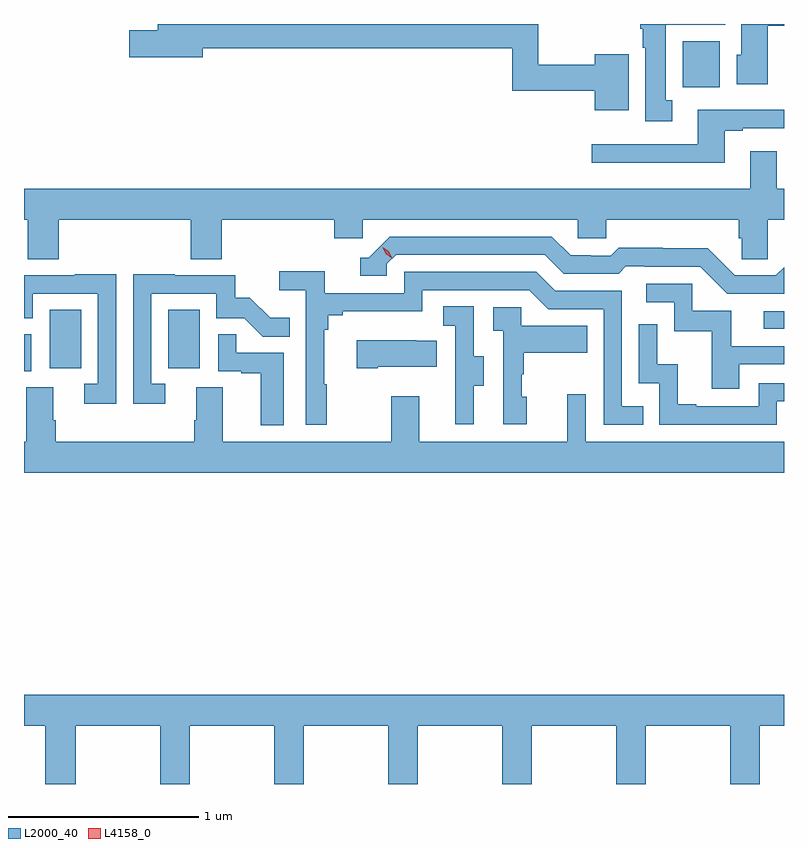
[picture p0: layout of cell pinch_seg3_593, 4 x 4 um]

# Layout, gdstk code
import gdstk
lib = gdstk.Library(unit=1e-6, precision=1e-09)
def R(c, l, rs):  # rectangles x0, y0, x1, y1
    for r in rs: c.add(gdstk.rectangle(r[:2], r[2:], *l))
def P(c, l, *ps):  # polygons
    for p in ps: c.add(gdstk.Polygon(p, *l))
L2000_40 = (2000, 40)
L4158_0 = (4158, 0)

pinch_seg3_593 = lib.new_cell('pinch_seg3_593')
R(pinch_seg3_593, L2000_40, [(1077.202,697.455,1077.24,697.649), (1077.338,697.47,1077.502,697.777), (1077.962,697.47,1078.126,697.777), (1081.095,697.677,1081.202,697.77), (1080.668,698.948,1080.865,699.19)])
P(pinch_seg3_593, L2000_40, [(1081.117,699.272),(1081.202,699.272),(1081.202,699.282),(1080.977,699.282),(1080.977,699.12),(1080.953,699.12),(1080.953,698.966),(1081.117,698.966)],
  [(1080.613,698.882),(1080.58,698.882),(1080.58,699.278),(1080.892,699.278),(1080.892,699.282),(1080.446,699.282),(1080.446,699.258),(1080.458,699.258),(1080.458,699.158),(1080.473,699.158),(1080.473,698.769),(1080.613,698.769)],
  [(1080.385,699.124),(1080.206,699.124),(1080.206,699.068),(1079.909,699.068),(1079.909,699.282),(1077.905,699.282),(1077.905,699.249),(1077.756,699.249),(1077.756,699.107),(1078.144,699.107),(1078.144,699.154),(1079.773,699.154),(1079.773,698.932),(1080.206,698.932),(1080.206,698.828),(1080.385,698.828)],
  [(1080.889,698.721),(1080.985,698.721),(1080.985,698.733),(1081.202,698.733),(1081.202,698.83),(1080.749,698.83),(1080.749,698.649),(1080.189,698.649),(1080.189,698.552),(1080.889,698.552)],
  [(1077.386,698.252),(1078.079,698.252),(1078.079,698.044),(1078.244,698.044),(1078.244,698.252),(1078.835,698.252),(1078.835,698.154),(1078.986,698.154),(1078.986,698.252),(1080.117,698.252),(1080.117,698.154),(1080.267,698.154),(1080.267,698.252),(1080.965,698.252),(1080.965,698.154),(1080.979,698.154),(1080.979,698.044),(1081.116,698.044),(1081.116,698.252),(1081.202,698.252),(1081.202,698.416),(1081.165,698.416),(1081.165,698.611),(1081.025,698.611),(1081.025,698.416),(1077.202,698.416),(1077.202,698.252),(1077.221,698.252),(1077.221,698.044),(1077.386,698.044)],
  [(1081.202,698.003),(1081.158,697.959),(1080.942,697.959),(1080.8,698.101),(1080.564,698.101),(1080.564,698.104),(1080.331,698.104),(1080.289,698.061),(1080.186,698.061),(1080.186,698.064),(1080.079,698.064),(1079.98,698.163),(1079.127,698.163),(1079.016,698.052),(1078.973,698.052),(1078.973,697.956),(1079.112,697.956),(1079.112,698.019),(1079.16,698.067),(1079.943,698.067),(1080.042,697.968),(1080.331,697.968),(1080.37,698.007),(1080.469,698.007),(1080.469,698.004),(1080.762,698.004),(1080.903,697.863),(1081.202,697.863)],
  [(1078.795,697.385),(1078.783,697.385),(1078.783,697.673),(1078.802,697.673),(1078.802,697.75),(1078.879,697.75),(1078.879,697.769),(1079.298,697.769),(1079.298,697.881),(1079.862,697.881),(1079.961,697.782),(1080.252,697.782),(1080.252,697.173),(1080.461,697.173),(1080.461,697.269),(1080.348,697.269),(1080.348,697.878),(1079.998,697.878),(1079.899,697.977),(1079.202,697.977),(1079.202,697.866),(1078.784,697.866),(1078.784,697.982),(1078.545,697.982),(1078.545,697.88),(1078.686,697.88),(1078.686,697.173),(1078.795,697.173)],
  [(1077.687,697.964),(1077.469,697.964),(1077.469,697.959),(1077.202,697.959),(1077.202,697.734),(1077.249,697.734),(1077.249,697.863),(1077.591,697.863),(1077.591,697.389),(1077.519,697.389),(1077.519,697.284),(1077.687,697.284)],
  [(1077.946,697.389),(1077.873,697.389),(1077.873,697.863),(1078.215,697.863),(1078.215,697.734),(1078.36,697.734),(1078.458,697.636),(1078.601,697.636),(1078.601,697.735),(1078.497,697.735),(1078.39,697.842),(1078.314,697.842),(1078.314,697.959),(1077.995,697.959),(1077.995,697.964),(1077.777,697.964),(1077.777,697.284),(1077.946,697.284)],
  [(1080.967,697.491),(1081.202,697.491),(1081.202,697.587),(1080.925,697.587),(1080.925,697.773),(1080.72,697.773),(1080.72,697.914),(1080.477,697.914),(1080.477,697.818),(1080.624,697.818),(1080.624,697.665),(1080.823,697.665),(1080.823,697.362),(1080.967,697.362)],
  [(1079.569,697.378),(1079.623,697.378),(1079.623,697.533),(1079.568,697.533),(1079.568,697.796),(1079.409,697.796),(1079.409,697.693),(1079.472,697.693),(1079.472,697.389),(1079.471,697.389),(1079.471,697.176),(1079.569,697.176)],
  [(1079.848,697.32),(1079.823,697.32),(1079.823,697.439),(1079.833,697.439),(1079.833,697.553),(1080.167,697.553),(1080.167,697.693),(1079.82,697.693),(1079.82,697.791),(1079.673,697.791),(1079.673,697.667),(1079.724,697.667),(1079.724,697.176),(1079.848,697.176)],
  [(1081.164,697.296),(1081.202,697.296),(1081.202,697.392),(1081.068,697.392),(1081.068,697.269),(1080.739,697.269),(1080.739,697.282),(1080.644,697.282),(1080.644,697.49),(1080.534,697.49),(1080.534,697.702),(1080.438,697.702),(1080.438,697.392),(1080.546,697.392),(1080.546,697.173),(1081.164,697.173)],
  [(1078.57,697.551),(1078.319,697.551),(1078.319,697.649),(1078.224,697.649),(1078.224,697.455),(1078.345,697.455),(1078.345,697.443),(1078.448,697.443),(1078.448,697.169),(1078.57,697.169)],
  [(1079.065,697.478),(1079.375,697.478),(1079.375,697.615),(1079.267,697.615),(1079.267,697.618),(1078.953,697.618),(1078.953,697.471),(1079.065,697.471)],
  [(1081.202,697.084),(1080.159,697.084),(1080.159,697.333),(1080.062,697.333),(1080.062,697.084),(1079.281,697.084),(1079.281,697.324),(1079.134,697.324),(1079.134,697.084),(1078.249,697.084),(1078.249,697.37),(1078.109,697.37),(1078.109,697.196),(1078.097,697.196),(1078.097,697.084),(1077.368,697.084),(1077.368,697.196),(1077.355,697.196),(1077.355,697.37),(1077.215,697.37),(1077.215,697.084),(1077.202,697.084),(1077.202,696.92),(1081.202,696.92)],
  [(1077.474,695.588),(1077.919,695.588),(1077.919,695.282),(1078.074,695.282),(1078.074,695.588),(1078.519,695.588),(1078.519,695.282),(1078.674,695.282),(1078.674,695.588),(1079.119,695.588),(1079.119,695.282),(1079.274,695.282),(1079.274,695.588),(1079.719,695.588),(1079.719,695.282),(1079.874,695.282),(1079.874,695.588),(1080.319,695.588),(1080.319,695.282),(1080.474,695.282),(1080.474,695.588),(1080.919,695.588),(1080.919,695.282),(1081.074,695.282),(1081.074,695.588),(1081.202,695.588),(1081.202,695.752),(1077.202,695.752),(1077.202,695.588),(1077.314,695.588),(1077.314,695.282),(1077.474,695.282)])
P(pinch_seg3_593, L4158_0, [(1079.136,698.053),(1079.106,698.074),(1079.09,698.107),(1079.09,698.107),(1079.09,698.107),(1079.121,698.087),(1079.137,698.054),(1079.137,698.053)])

lib.write_gds('pinch_seg3_593.gds')
